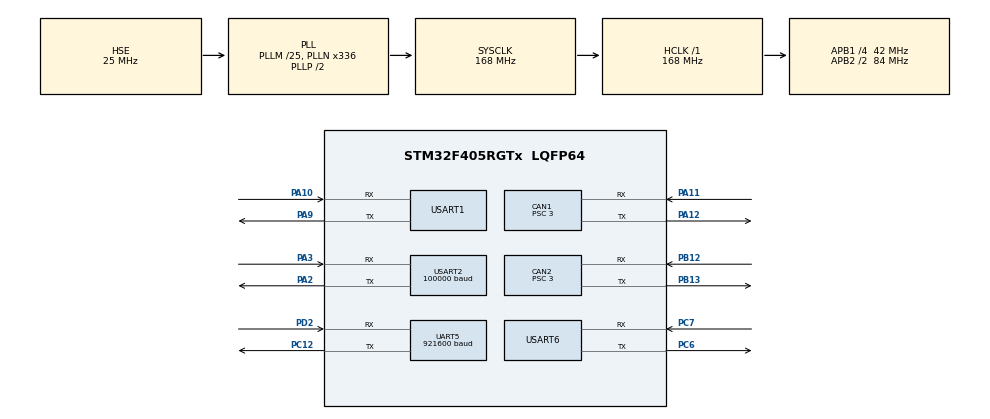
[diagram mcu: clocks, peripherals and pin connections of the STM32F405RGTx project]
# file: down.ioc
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CAN1.ABOM=ENABLE
CAN1.AWUM=ENABLE
CAN1.BS1=CAN_BS1_10TQ
CAN1.BS2=CAN_BS2_3TQ
CAN1.CalculateBaudRate=1000000
CAN1.CalculateTimeBit=1000
CAN1.CalculateTimeQuantum=71.42857142857143
CAN1.NART=ENABLE
CAN1.Prescaler=3
CAN2.ABOM=ENABLE
CAN2.AWUM=ENABLE
CAN2.BS1=CAN_BS1_10TQ
CAN2.BS2=CAN_BS2_3TQ
CAN2.CalculateBaudRate=1000000
CAN2.CalculateTimeBit=1000
CAN2.CalculateTimeQuantum=71.42857142857143
CAN2.NART=ENABLE
CAN2.Prescaler=3
Dma.Request0=USART1_RX
Dma.Request1=USART2_RX
Dma.Request2=UART5_RX
Dma.Request3=USART1_TX
Dma.UART5_RX.2.Direction=DMA_PERIPH_TO_MEMORY
Dma.UART5_RX.2.FIFOMode=DMA_FIFOMODE_DISABLE
Dma.UART5_RX.2.Instance=DMA1_Stream0
Dma.UART5_RX.2.MemDataAlignment=DMA_MDATAALIGN_BYTE
Dma.UART5_RX.2.MemInc=DMA_MINC_ENABLE
Dma.UART5_RX.2.Mode=DMA_NORMAL
Dma.UART5_RX.2.PeriphDataAlignment=DMA_PDATAALIGN_BYTE
Dma.UART5_RX.2.PeriphInc=DMA_PINC_DISABLE
Dma.UART5_RX.2.Priority=DMA_PRIORITY_HIGH
Dma.USART1_RX.0.Direction=DMA_PERIPH_TO_MEMORY
Dma.USART1_RX.0.FIFOMode=DMA_FIFOMODE_DISABLE
Dma.USART1_RX.0.Instance=DMA2_Stream2
Dma.USART1_RX.0.MemDataAlignment=DMA_MDATAALIGN_BYTE
Dma.USART1_RX.0.MemInc=DMA_MINC_ENABLE
Dma.USART1_RX.0.Mode=DMA_CIRCULAR
Dma.USART1_RX.0.PeriphDataAlignment=DMA_PDATAALIGN_BYTE
Dma.USART1_RX.0.PeriphInc=DMA_PINC_DISABLE
Dma.USART1_RX.0.Priority=DMA_PRIORITY_HIGH
Dma.USART1_TX.3.Direction=DMA_MEMORY_TO_PERIPH
Dma.USART1_TX.3.FIFOMode=DMA_FIFOMODE_DISABLE
Dma.USART1_TX.3.Instance=DMA2_Stream7
Dma.USART1_TX.3.MemDataAlignment=DMA_MDATAALIGN_BYTE
Dma.USART1_TX.3.MemInc=DMA_MINC_ENABLE
Dma.USART1_TX.3.Mode=DMA_NORMAL
Dma.USART1_TX.3.PeriphDataAlignment=DMA_PDATAALIGN_BYTE
Dma.USART1_TX.3.PeriphInc=DMA_PINC_DISABLE
Dma.USART1_TX.3.Priority=DMA_PRIORITY_VERY_HIGH
Dma.USART2_RX.1.Direction=DMA_PERIPH_TO_MEMORY
Dma.USART2_RX.1.FIFOMode=DMA_FIFOMODE_ENABLE
Dma.USART2_RX.1.FIFOThreshold=DMA_FIFO_THRESHOLD_HALFFULL
Dma.USART2_RX.1.Instance=DMA1_Stream5
Dma.USART2_RX.1.MemBurst=DMA_MBURST_SINGLE
Dma.USART2_RX.1.MemDataAlignment=DMA_MDATAALIGN_BYTE
Dma.USART2_RX.1.MemInc=DMA_MINC_ENABLE
Dma.USART2_RX.1.Mode=DMA_CIRCULAR
Dma.USART2_RX.1.PeriphBurst=DMA_PBURST_SINGLE
Dma.USART2_RX.1.PeriphDataAlignment=DMA_PDATAALIGN_BYTE
Dma.USART2_RX.1.PeriphInc=DMA_PINC_DISABLE
Dma.USART2_RX.1.Priority=DMA_PRIORITY_VERY_HIGH
FREERTOS.INCLUDE_vTaskDelayUntil=1
FREERTOS.Tasks01=defaultTask,0,128,StartDefaultTask,Default,NULL,Dynamic,NULL,NULL;system_state_ta,3,256,SYSTEM_STATE_TASK,Default,NULL,Dynamic,NULL,NULL;imu_task,3,128,IMU_TASK,Default,NULL,Dynamic,NULL,NULL;judge_task,2,256,JUDGE_TASK,As external,NULL,Dynamic,NULL,NULL;ChassisControl,2,256,ChassisControl_Task,As external,NULL,Dynamic,NULL,NULL;ChassisSwitch,2,256,ChassisSwitch_Task,As external,NULL,Dynamic,NULL,NULL
IWDG.Prescaler=IWDG_PRESCALER_32
IWDG.Reload=200
Mcu.Family=STM32F4
Mcu.Name=STM32F405RGTx
Mcu.Package=LQFP64
NVIC.CAN1_RX0_IRQn=true\:5\:0\:false\:false\:true\:true\:true\:true\:true
NVIC.CAN2_RX0_IRQn=true\:5\:0\:false\:false\:true\:true\:true\:true\:true
NVIC.DMA1_Stream0_IRQn=true\:5\:0\:false\:false\:true\:true\:false\:true\:true
NVIC.DMA1_Stream5_IRQn=true\:5\:0\:false\:false\:true\:true\:false\:true\:true
NVIC.DMA2_Stream2_IRQn=true\:5\:0\:false\:false\:true\:true\:false\:true\:true
NVIC.DMA2_Stream7_IRQn=true\:5\:0\:false\:false\:true\:true\:false\:true\:true
NVIC.PriorityGroup=NVIC_PRIORITYGROUP_4
NVIC.TIM8_TRG_COM_TIM14_IRQn=true\:15\:0\:false\:false\:true\:false\:false\:true\:true
NVIC.TimeBase=TIM8_TRG_COM_TIM14_IRQn
NVIC.TimeBaseIP=TIM14
NVIC.UART5_IRQn=true\:5\:0\:false\:false\:true\:true\:true\:true\:true
NVIC.USART1_IRQn=true\:5\:0\:false\:false\:true\:true\:true\:true\:true
NVIC.USART2_IRQn=true\:5\:0\:false\:false\:true\:true\:true\:true\:true
NVIC.USART6_IRQn=true\:5\:0\:false\:false\:true\:true\:true\:true\:true
PA10.Mode=Asynchronous
PA10.Signal=USART1_RX
PA11.Mode=CAN_Activate
PA11.Signal=CAN1_RX
PA12.Mode=CAN_Activate
PA12.Signal=CAN1_TX
PA13.Mode=Serial_Wire
PA13.Signal=SYS_JTMS-SWDIO
PA14.Mode=Serial_Wire
PA14.Signal=SYS_JTCK-SWCLK
PA2.Mode=Asynchronous
PA2.Signal=USART2_TX
PA3.Mode=Asynchronous
PA3.Signal=USART2_RX
PA9.Mode=Asynchronous
PA9.Signal=USART1_TX
PB12.Mode=CAN_Activate
PB12.Signal=CAN2_RX
PB13.Mode=CAN_Activate
PB13.Signal=CAN2_TX
PC12.Mode=Asynchronous
PC12.Signal=UART5_TX
PC6.Mode=Asynchronous
PC6.Signal=USART6_TX
PC7.Mode=Asynchronous
PC7.Signal=USART6_RX
PD2.Mode=Asynchronous
PD2.Signal=UART5_RX
PH0-OSC_IN.Mode=HSE-External-Oscillator
PH0-OSC_IN.Signal=RCC_OSC_IN
PH1-OSC_OUT.Mode=HSE-External-Oscillator
PH1-OSC_OUT.Signal=RCC_OSC_OUT
ProjectManager.HeapSize=0x200
ProjectManager.StackSize=0x400
ProjectManager.TargetToolchain=MDK-ARM V5.32
RCC.48MHZClocksFreq_Value=84000000
RCC.AHBFreq_Value=168000000
RCC.APB1CLKDivider=RCC_HCLK_DIV4
RCC.APB1Freq_Value=42000000
RCC.APB1TimFreq_Value=84000000
RCC.APB2CLKDivider=RCC_HCLK_DIV2
RCC.APB2Freq_Value=84000000
RCC.APB2TimFreq_Value=168000000
RCC.CortexFreq_Value=168000000
RCC.HCLKFreq_Value=168000000
RCC.HSE_VALUE=25000000
RCC.HSI_VALUE=16000000
RCC.LSE_VALUE=32768
RCC.PLLM=25
RCC.PLLN=336
RCC.PLLSourceVirtual=RCC_PLLSOURCE_HSE
RCC.SYSCLKFreq_VALUE=168000000
RCC.SYSCLKSource=RCC_SYSCLKSOURCE_PLLCLK
RCC.VCOOutputFreq_Value=336000000
UART5.BaudRate=921600
UART5.VirtualMode=Asynchronous
USART1.VirtualMode=VM_ASYNC
USART2.BaudRate=100000
USART2.Parity=PARITY_EVEN
USART2.VirtualMode=VM_ASYNC
USART2.WordLength=WORDLENGTH_9B
USART6.VirtualMode=VM_ASYNC
VP_FREERTOS_VS_CMSIS_V1.Mode=CMSIS_V1
VP_IWDG_VS_IWDG.Mode=IWDG_Activate
VP_SYS_VS_tim14.Mode=TIM14
board=custom

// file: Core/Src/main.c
/* USER CODE BEGIN Header */
/**
  ******************************************************************************
  * @file           : main.c
  * @brief          : Main program body
  ******************************************************************************
  * @attention
  *
  * Copyright (c) 2023 STMicroelectronics.
  * All rights reserved.
  *
  * This software is licensed under terms that can be found in the LICENSE file
  * in the root directory of this software component.
  * If no LICENSE file comes with this software, it is provided AS-IS.
  *
  ******************************************************************************
  */
/* USER CODE END Header */
#include "main.h"
#include "cmsis_os.h"
#include "can.h"
#include "dma.h"
#include "iwdg.h"
#include "usart.h"
#include "gpio.h"

/* USER CODE BEGIN Includes */
#include "driver.h"
#include "Device.h"

/* USER CODE END Includes */

void SystemClock_Config(void);
void MX_FREERTOS_Init(void);

int main(void)
{

  /* MCU Configuration--------------------------------------------------------*/

  /* Reset of all peripherals, Initializes the Flash interface and the Systick. */
  HAL_Init();

  /* Configure the system clock */
  SystemClock_Config();

  /* Initialize all configured peripherals */
  MX_GPIO_Init();
  MX_DMA_Init();
  MX_CAN1_Init();
  MX_CAN2_Init();
  MX_USART1_UART_Init();
  MX_USART2_UART_Init();
  MX_USART6_UART_Init();
  MX_UART5_Init();
  MX_IWDG_Init();
  /* USER CODE BEGIN 2 */
	Driver_Init();
	Chassis_InitPID();
	Motor_Init();
  /* USER CODE END 2 */

  /* Call init function for freertos objects (in cmsis_os2.c) */
  MX_FREERTOS_Init();

  /* Start scheduler */
  osKernelStart();

  /* We should never get here as control is now taken by the scheduler */

  /* Infinite loop */
  while (1)
  {

  }
}

void SystemClock_Config(void)
{
  RCC_OscInitTypeDef RCC_OscInitStruct = {0};
  RCC_ClkInitTypeDef RCC_ClkInitStruct = {0};

  /** Configure the main internal regulator output voltage
  */
  __HAL_RCC_PWR_CLK_ENABLE();
  __HAL_PWR_VOLTAGESCALING_CONFIG(PWR_REGULATOR_VOLTAGE_SCALE1);

  /** Initializes the RCC Oscillators according to the specified parameters
  * in the RCC_OscInitTypeDef structure.
  */
  RCC_OscInitStruct.OscillatorType = RCC_OSCILLATORTYPE_LSI|RCC_OSCILLATORTYPE_HSE;
  RCC_OscInitStruct.HSEState = RCC_HSE_ON;
  RCC_OscInitStruct.LSIState = RCC_LSI_ON;
  RCC_OscInitStruct.PLL.PLLState = RCC_PLL_ON;
  RCC_OscInitStruct.PLL.PLLSource = RCC_PLLSOURCE_HSE;
  RCC_OscInitStruct.PLL.PLLM = 25;
  RCC_OscInitStruct.PLL.PLLN = 336;
  RCC_OscInitStruct.PLL.PLLP = RCC_PLLP_DIV2;
  RCC_OscInitStruct.PLL.PLLQ = 4;
  if (HAL_RCC_OscConfig(&RCC_OscInitStruct) != HAL_OK)
  {
    Error_Handler();
  }

  /** Initializes the CPU, AHB and APB buses clocks
  */
  RCC_ClkInitStruct.ClockType = RCC_CLOCKTYPE_HCLK|RCC_CLOCKTYPE_SYSCLK
                              |RCC_CLOCKTYPE_PCLK1|RCC_CLOCKTYPE_PCLK2;
  RCC_ClkInitStruct.SYSCLKSource = RCC_SYSCLKSOURCE_PLLCLK;
  RCC_ClkInitStruct.AHBCLKDivider = RCC_SYSCLK_DIV1;
  RCC_ClkInitStruct.APB1CLKDivider = RCC_HCLK_DIV4;
  RCC_ClkInitStruct.APB2CLKDivider = RCC_HCLK_DIV2;

  if (HAL_RCC_ClockConfig(&RCC_ClkInitStruct, FLASH_LATENCY_5) != HAL_OK)
  {
    Error_Handler();
  }
}

void HAL_TIM_PeriodElapsedCallback(TIM_HandleTypeDef *htim)
{
  if (htim->Instance == TIM14) {
    HAL_IncTick();
  }
}

void Error_Handler(void)
{
  __disable_irq();
  while (1)
  {
  }
}

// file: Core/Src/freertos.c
/* USER CODE BEGIN Header */
/**
  ******************************************************************************
  * File Name          : freertos.c
  * Description        : Code for freertos applications
  ******************************************************************************
  * @attention
  *
  * Copyright (c) 2023 STMicroelectronics.
  * All rights reserved.
  *
  * This software is licensed under terms that can be found in the LICENSE file
  * in the root directory of this software component.
  * If no LICENSE file comes with this software, it is provided AS-IS.
  *
  ******************************************************************************
  */
/* USER CODE END Header */

#include "FreeRTOS.h"
#include "task.h"
#include "main.h"
#include "cmsis_os.h"

/* USER CODE BEGIN Includes */
#include "Device.h"

/* USER CODE END Includes */

osThreadId defaultTaskHandle;
osThreadId system_state_taHandle;
osThreadId imu_taskHandle;
osThreadId judge_taskHandle;
osThreadId ChassisControlHandle;
osThreadId ChassisSwitchHandle;

void StartDefaultTask(void const * argument);
void SYSTEM_STATE_TASK(void const * argument);
void IMU_TASK(void const * argument);
extern void JUDGE_TASK(void const * argument);
extern void ChassisControl_Task(void const * argument);
extern void ChassisSwitch_Task(void const * argument);

void MX_FREERTOS_Init(void); /* (MISRA C 2004 rule 8.1) */

/* GetIdleTaskMemory prototype (linked to static allocation support) */
void vApplicationGetIdleTaskMemory( StaticTask_t **ppxIdleTaskTCBBuffer, StackType_t **ppxIdleTaskStackBuffer, uint32_t *pulIdleTaskStackSize );

/* USER CODE BEGIN GET_IDLE_TASK_MEMORY */
static StaticTask_t xIdleTaskTCBBuffer;
static StackType_t xIdleStack[configMINIMAL_STACK_SIZE];

void vApplicationGetIdleTaskMemory( StaticTask_t **ppxIdleTaskTCBBuffer, StackType_t **ppxIdleTaskStackBuffer, uint32_t *pulIdleTaskStackSize )
{
  *ppxIdleTaskTCBBuffer = &xIdleTaskTCBBuffer;
  *ppxIdleTaskStackBuffer = &xIdleStack[0];
  *pulIdleTaskStackSize = configMINIMAL_STACK_SIZE;
  /* place for user code */
}
/* USER CODE END GET_IDLE_TASK_MEMORY */

void MX_FREERTOS_Init(void) {

  /* Create the thread(s) */
  /* definition and creation of defaultTask */
  osThreadDef(defaultTask, StartDefaultTask, osPriorityNormal, 0, 128);
  defaultTaskHandle = osThreadCreate(osThread(defaultTask), NULL);

  /* definition and creation of system_state_ta */
  osThreadDef(system_state_ta, SYSTEM_STATE_TASK, osPriorityRealtime, 0, 256);
  system_state_taHandle = osThreadCreate(osThread(system_state_ta), NULL);

  /* definition and creation of imu_task */
  osThreadDef(imu_task, IMU_TASK, osPriorityRealtime, 0, 128);
  imu_taskHandle = osThreadCreate(osThread(imu_task), NULL);

  /* definition and creation of judge_task */
  osThreadDef(judge_task, JUDGE_TASK, osPriorityHigh, 0, 256);
  judge_taskHandle = osThreadCreate(osThread(judge_task), NULL);

  /* definition and creation of ChassisControl */
  osThreadDef(ChassisControl, ChassisControl_Task, osPriorityHigh, 0, 256);
  ChassisControlHandle = osThreadCreate(osThread(ChassisControl), NULL);

  /* definition and creation of ChassisSwitch */
  osThreadDef(ChassisSwitch, ChassisSwitch_Task, osPriorityHigh, 0, 256);
  ChassisSwitchHandle = osThreadCreate(osThread(ChassisSwitch), NULL);

}

void StartDefaultTask(void const * argument)
{
  for(;;)
  {
    osDelay(1);
  }
}

void SYSTEM_STATE_TASK(void const * argument)
{
  /* USER CODE BEGIN SYSTEM_STATE_TASK */
  /* Infinite loop */
	vTaskDelay(100);
	int32_t cnt=0;
  for(;;)
  {
		//向上板发送裁判系统数据
		if(cnt % 20 == 0)
		{
			referee_data_send(REF.Robot_Status.shooter_barrel_heat_limit
											 ,REF.Power_Heat_Data.shooter_17mm_1_barrel_heat
											 ,0,0
										);
		}

		vTaskDelay(1);
		cnt++;
		if(cnt>=1000)cnt=0;
  }
  /* USER CODE END SYSTEM_STATE_TASK */
}

void IMU_TASK(void const * argument)
{
  /* USER CODE BEGIN IMU_TASK */
  /* Infinite loop */
  for(;;)
  {
		IMU_get();
    osDelay(1);
  }
  /* USER CODE END IMU_TASK */
}
